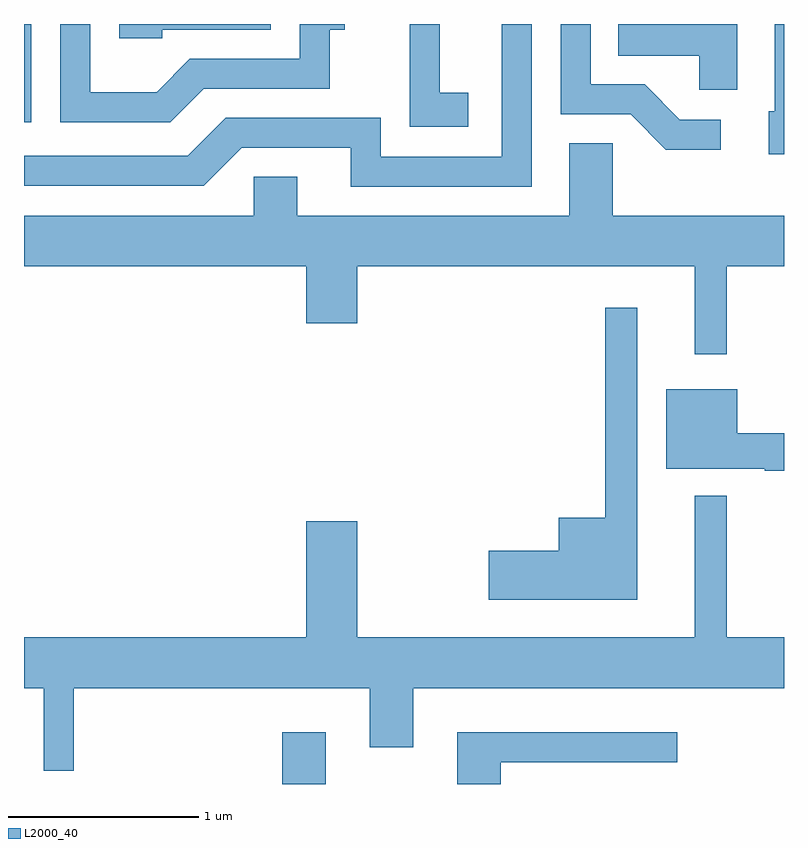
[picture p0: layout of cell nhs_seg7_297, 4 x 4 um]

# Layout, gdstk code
import gdstk
lib = gdstk.Library(unit=1e-6, precision=1e-09)
def R(c, l, rs):  # rectangles x0, y0, x1, y1
    for r in rs: c.add(gdstk.rectangle(r[:2], r[2:], *l))
def P(c, l, *ps):  # polygons
    for p in ps: c.add(gdstk.Polygon(p, *l))
L2000_40 = (2000, 40)

nhs_seg7_297 = lib.new_cell('nhs_seg7_297')
R(nhs_seg7_297, L2000_40, [(194.971,1718.252,195.199,1718.524), (193.611,1721.736,193.649,1722.252)])
P(nhs_seg7_297, L2000_40, [(197.611,1722.252),(197.561,1722.252),(197.561,1721.794),(197.531,1721.794),(197.531,1721.566),(197.611,1721.566)],
  [(194.339,1722.221),(194.909,1722.221),(194.909,1722.252),(194.111,1722.252),(194.111,1722.176),(194.339,1722.176)],
  [(195.949,1721.889),(195.799,1721.889),(195.799,1722.252),(195.641,1722.252),(195.641,1721.711),(195.949,1721.711)],
  [(194.557,1721.911),(195.219,1721.911),(195.219,1722.221),(195.298,1722.221),(195.298,1722.252),(195.061,1722.252),(195.061,1722.069),(194.484,1722.069),(194.309,1721.894),(193.959,1721.894),(193.959,1722.252),(193.801,1722.252),(193.801,1721.736),(194.382,1721.736)],
  [(197.364,1722.252),(196.738,1722.252),(196.738,1722.086),(197.166,1722.086),(197.166,1721.906),(197.364,1721.906)],
  [(197.278,1721.749),(197.062,1721.749),(196.877,1721.934),(196.594,1721.934),(196.594,1722.252),(196.436,1722.252),(196.436,1721.776),(196.804,1721.776),(196.989,1721.591),(197.278,1721.591)],
  [(196.284,1722.252),(196.126,1722.252),(196.126,1721.554),(195.489,1721.554),(195.489,1721.759),(194.674,1721.759),(194.474,1721.559),(193.611,1721.559),(193.611,1721.401),(194.557,1721.401),(194.757,1721.601),(195.331,1721.601),(195.331,1721.396),(196.284,1721.396)],
  [(197.309,1720.976),(197.611,1720.976),(197.611,1721.244),(196.709,1721.244),(196.709,1721.624),(196.481,1721.624),(196.481,1721.244),(195.049,1721.244),(195.049,1721.449),(194.821,1721.449),(194.821,1721.244),(193.611,1721.244),(193.611,1720.976),(195.096,1720.976),(195.096,1720.676),(195.364,1720.676),(195.364,1720.976),(197.141,1720.976),(197.141,1720.513),(197.309,1720.513)],
  [(196.839,1720.758),(196.671,1720.758),(196.671,1719.654),(196.426,1719.654),(196.426,1719.479),(196.056,1719.479),(196.056,1719.221),(196.839,1719.221)],
  [(197.611,1720.099),(197.364,1720.099),(197.364,1720.329),(196.991,1720.329),(196.991,1719.911),(197.51,1719.911),(197.51,1719.901),(197.611,1719.901)],
  [(193.874,1718.756),(195.431,1718.756),(195.431,1718.446),(195.659,1718.446),(195.659,1718.756),(197.611,1718.756),(197.611,1719.024),(197.309,1719.024),(197.309,1719.768),(197.141,1719.768),(197.141,1719.024),(195.364,1719.024),(195.364,1719.634),(195.096,1719.634),(195.096,1719.024),(193.611,1719.024),(193.611,1718.756),(193.716,1718.756),(193.716,1718.323),(193.874,1718.323)],
  [(196.119,1718.366),(197.048,1718.366),(197.048,1718.524),(195.891,1718.524),(195.891,1718.252),(196.119,1718.252)])

lib.write_gds('nhs_seg7_297.gds')
